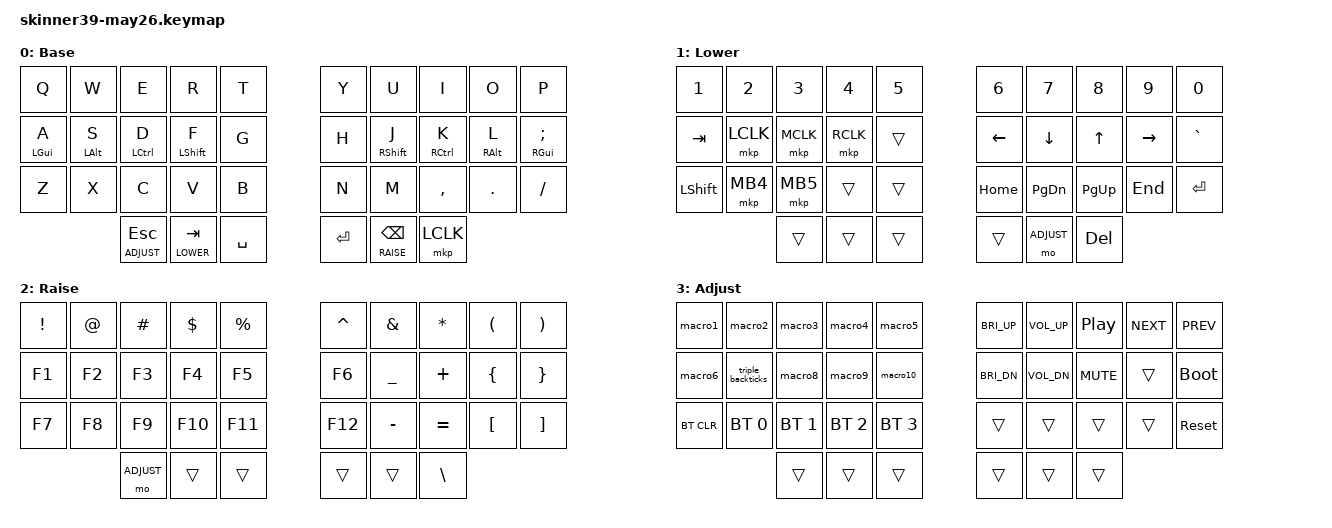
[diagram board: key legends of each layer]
#include <behaviors.dtsi>
#include <dt-bindings/zmk/keys.h>
#include <dt-bindings/zmk/bt.h>
#include <dt-bindings/zmk/mouse.h>
#include <dt-bindings/zmk/pointing.h>

// Layer definitions
#define BASE 0
#define LOWER 1
#define RAISE 2
#define ADJUST 3

// Macro timing defaults
#define MACRO_WAIT 40
#define MACRO_TAP 40

// Define all 10 macros
/ {
    macros {
        // Macro 1: Email address
        macro1: macro1 {
            compatible = "zmk,behavior-macro";
            #binding-cells = <0>;
            wait-ms = <MACRO_WAIT>;
            tap-ms = <MACRO_TAP>;
            bindings = <&kp M &kp Y &kp E &kp M &kp A &kp I &kp L 
                       &kp AT &kp E &kp X &kp DOT &kp C &kp O &kp M>;
        };

        // Macro 2: Common code snippet (arrow function)
        macro2: macro2 {
            compatible = "zmk,behavior-macro";
            #binding-cells = <0>;
            wait-ms = <MACRO_WAIT>;
            tap-ms = <MACRO_TAP>;
            bindings = <&kp SPACE &kp EQUAL &kp GT &kp SPACE>;
        };

        // Macro 3: Git commit command
        macro3: macro3 {
            compatible = "zmk,behavior-macro";
            #binding-cells = <0>;
            wait-ms = <MACRO_WAIT>;
            tap-ms = <MACRO_TAP>;
            bindings = <&kp G &kp I &kp T &kp SPACE &kp C &kp O &kp M 
                       &kp M &kp I &kp T &kp SPACE &kp MINUS &kp M &kp SPACE>;
        };

        // Macro 4: Screenshot (macOS)
        macro4: macro4 {
            compatible = "zmk,behavior-macro";
            #binding-cells = <0>;
            wait-ms = <10>;
            tap-ms = <10>;
            bindings = <&kp LG(LS(N4))>;
        };

        // Macro 5: Copy & Paste sequence
        macro5: macro5 {
            compatible = "zmk,behavior-macro";
            #binding-cells = <0>;
            wait-ms = <100>;
            tap-ms = <10>;
            bindings = <&kp LC(C)>, <&macro_wait_time 200>, <&kp LC(V)>;
        };

        // Macro 6: Alt-Tab hold
        macro6: macro6 {
            compatible = "zmk,behavior-macro";
            #binding-cells = <0>;
            wait-ms = <0>;
            tap-ms = <0>;
            bindings = <&macro_press &kp LALT &kp TAB>,
                       <&macro_pause_for_release>,
                       <&macro_release &kp TAB &kp LALT>;
        };

        // Macro: Triple Backticks
        triple_backticks: triple_backticks {
            compatible = "zmk,behavior-macro";
            label = "TRIPLE_BACKTICKS_MACRO";
            #binding-cells = <0>;
            wait-ms = <MACRO_WAIT>;
            tap-ms = <MACRO_TAP>;
            bindings = <&kp GRAVE &kp GRAVE &kp GRAVE>;
        };

        // Macro 8: VS Code save all
        macro8: macro8 {
            compatible = "zmk,behavior-macro";
            #binding-cells = <0>;
            wait-ms = <10>;
            tap-ms = <10>;
            bindings = <&kp LC(K)>, <&kp S>;
        };

        // Macro 9: Browser dev tools
        macro9: macro9 {
            compatible = "zmk,behavior-macro";
            #binding-cells = <0>;
            wait-ms = <10>;
            tap-ms = <10>;
            bindings = <&kp LC(LS(I))>;
        };

        // Macro 10: Custom signature
        macro10: macro10 {
            compatible = "zmk,behavior-macro";
            #binding-cells = <0>;
            wait-ms = <MACRO_WAIT>;
            tap-ms = <MACRO_TAP>;
            bindings = <&kp B &kp E &kp S &kp T &kp SPACE 
                       &kp R &kp E &kp G &kp A &kp R &kp D &kp S>;
        };
    };

    behaviors {
        // Home row mods configuration
        hm: homerow_mods {
            compatible = "zmk,behavior-hold-tap";
            #binding-cells = <2>;
            tapping-term-ms = <200>;
            quick-tap-ms = <0>;
            flavor = "tap-preferred";
            bindings = <&kp>, <&kp>;
        };
    };

    keymap {
        compatible = "zmk,keymap";

        // Layer 0: Base QWERTY
        default_layer {
            display-name = "Base";
            bindings = <
                &kp Q      &kp W      &kp E       &kp R       &kp T         &kp Y    &kp U       &kp I       &kp O      &kp P
                &hm LGUI A &hm LALT S &hm LCTRL D &hm LSHIFT F &kp G        &kp H    &hm RSHIFT J &hm RCTRL K &hm RALT L &hm RGUI SEMI
                &kp Z      &kp X      &kp C       &kp V       &kp B         &kp N    &kp M       &kp COMMA   &kp DOT    &kp SLASH
                                      &lt ADJUST ESC &lt LOWER TAB &kp SPACE  &kp RET  &lt RAISE BSPC &mkp LCLK
            >;
        };

        // Layer 1: Lower (Numbers, Navigation, Mouse)
        lower_layer {
            display-name = "Lower";
            bindings = <
                &kp N1     &kp N2     &kp N3      &kp N4      &kp N5        &kp N6   &kp N7      &kp N8      &kp N9     &kp N0
                &kp TAB    &mkp LCLK  &mkp MCLK   &mkp RCLK   &trans        &kp LEFT &kp DOWN    &kp UP      &kp RIGHT  &kp GRAVE
                &kp LSHIFT &mkp MB4   &mkp MB5    &trans      &trans        &kp HOME &kp PG_DN   &kp PG_UP   &kp END    &kp RET
                                      &trans      &trans      &trans        &trans   &mo ADJUST  &kp DEL
            >;
        };

        // Layer 2: Raise (Symbols, Function keys, Macros)
        raise_layer {
            display-name = "Raise";
            bindings = <
                &kp EXCL   &kp AT     &kp HASH    &kp DLLR    &kp PRCNT     &kp CARET &kp AMPS    &kp STAR    &kp LPAR   &kp RPAR
                &kp F1     &kp F2     &kp F3      &kp F4      &kp F5        &kp F6    &kp UNDER   &kp PLUS    &kp LBRC   &kp RBRC
                &kp F7     &kp F8     &kp F9      &kp F10     &kp F11       &kp F12   &kp MINUS   &kp EQUAL   &kp LBKT   &kp RBKT
                                      &mo ADJUST  &trans      &trans        &trans    &trans      &kp BSLH
            >;
        };

        // Layer 3: Adjust (System, Macros, Media)
        adjust_layer {
            display-name = "Adjust";
            bindings = <
                &macro1         &macro2         &macro3         &macro4         &macro5            &kp C_BRI_UP   &kp C_VOL_UP   &kp C_PP       &kp C_NEXT     &kp C_PREV
                &macro6         &triple_backticks &macro8         &macro9         &macro10           &kp C_BRI_DN   &kp C_VOL_DN   &kp C_MUTE     &trans         &bootloader
                &bt BT_CLR      &bt BT_SEL 0    &bt BT_SEL 1    &bt BT_SEL 2    &bt BT_SEL 3      &trans         &trans         &trans         &trans         &sys_reset
                                                &trans          &trans          &trans             &trans         &trans         &trans
            >;
        };
    };
};
